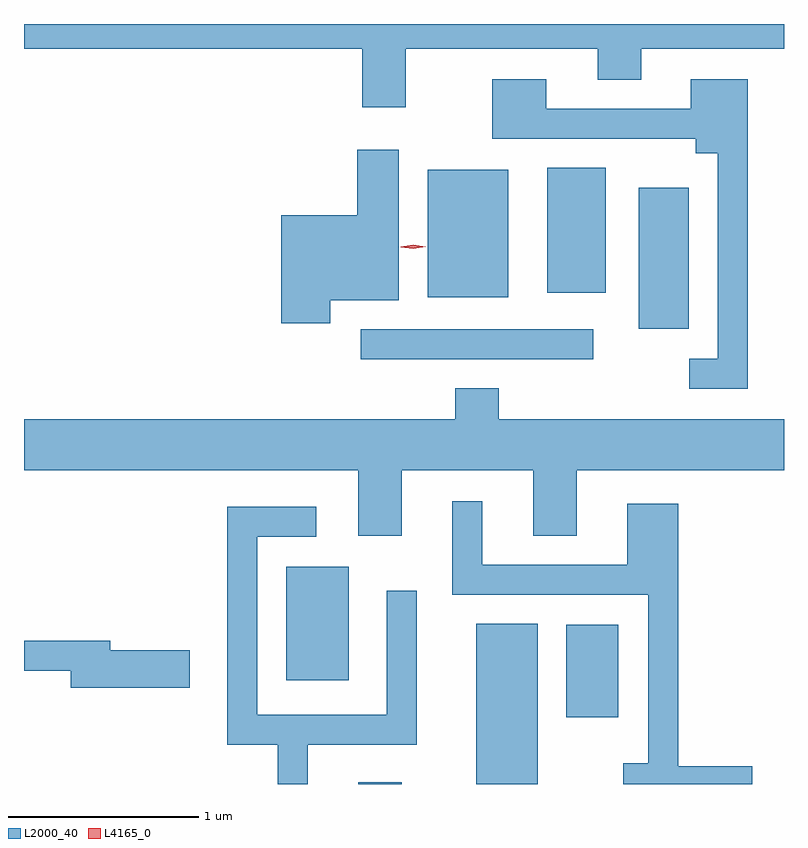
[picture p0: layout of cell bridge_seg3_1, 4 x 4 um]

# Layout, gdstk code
import gdstk
lib = gdstk.Library(unit=1e-6, precision=1e-09)
def R(c, l, rs):  # rectangles x0, y0, x1, y1
    for r in rs: c.add(gdstk.rectangle(r[:2], r[2:], *l))
def P(c, l, *ps):  # polygons
    for p in ps: c.add(gdstk.Polygon(p, *l))
L2000_40 = (2000, 40)
L4165_0 = (4165, 0)

bridge_seg3_1 = lib.new_cell('bridge_seg3_1')
R(bridge_seg3_1, L2000_40, [(1129.201,1248.685,1129.429,1248.694), (1129.821,1248.685,1130.144,1249.529), (1130.296,1249.036,1130.569,1249.524), (1128.821,1249.231,1129.149,1249.829), (1129.213,1250.921,1130.438,1251.079), (1130.676,1251.081,1130.939,1251.824), (1129.566,1251.246,1129.989,1251.919), (1130.196,1251.271,1130.504,1251.929)])
P(bridge_seg3_1, L2000_40, [(1129.449,1252.556),(1130.461,1252.556),(1130.461,1252.391),(1130.689,1252.391),(1130.689,1252.556),(1131.441,1252.556),(1131.441,1252.685),(1127.441,1252.685),(1127.441,1252.556),(1129.221,1252.556),(1129.221,1252.246),(1129.449,1252.246)],
  [(1131.249,1252.394),(1130.951,1252.394),(1130.951,1252.239),(1130.189,1252.239),(1130.189,1252.394),(1129.906,1252.394),(1129.906,1252.081),(1130.976,1252.081),(1130.976,1252.006),(1131.091,1252.006),(1131.091,1250.924),(1130.943,1250.924),(1130.943,1250.766),(1131.249,1250.766)],
  [(1129.054,1251.231),(1129.414,1251.231),(1129.414,1252.024),(1129.196,1252.024),(1129.196,1251.679),(1128.796,1251.679),(1128.796,1251.111),(1129.054,1251.111)],
  [(1129.429,1250.336),(1130.121,1250.336),(1130.121,1249.991),(1130.349,1249.991),(1130.349,1250.336),(1131.441,1250.336),(1131.441,1250.604),(1129.939,1250.604),(1129.939,1250.769),(1129.711,1250.769),(1129.711,1250.604),(1127.441,1250.604),(1127.441,1250.336),(1129.201,1250.336),(1129.201,1249.991),(1129.429,1249.991)],
  [(1131.274,1248.779),(1130.884,1248.779),(1130.884,1250.159),(1130.616,1250.159),(1130.616,1249.839),(1129.854,1249.839),(1129.854,1250.173),(1129.696,1250.173),(1129.696,1249.681),(1130.726,1249.681),(1130.726,1248.794),(1130.596,1248.794),(1130.596,1248.685),(1131.274,1248.685)],
  [(1128.934,1248.891),(1129.509,1248.891),(1129.509,1249.703),(1129.351,1249.703),(1129.351,1249.049),(1128.669,1249.049),(1128.669,1249.986),(1128.978,1249.986),(1128.978,1250.144),(1128.511,1250.144),(1128.511,1248.891),(1128.776,1248.891),(1128.776,1248.685),(1128.934,1248.685)],
  [(1128.314,1249.389),(1127.894,1249.389),(1127.894,1249.439),(1127.441,1249.439),(1127.441,1249.281),(1127.686,1249.281),(1127.686,1249.191),(1128.314,1249.191)])
P(bridge_seg3_1, L4165_0, [(1129.49,1251.502),(1129.424,1251.511),(1129.423,1251.512),(1129.424,1251.512),(1129.49,1251.522),(1129.556,1251.513),(1129.556,1251.512),(1129.556,1251.512)])

lib.write_gds('bridge_seg3_1.gds')
